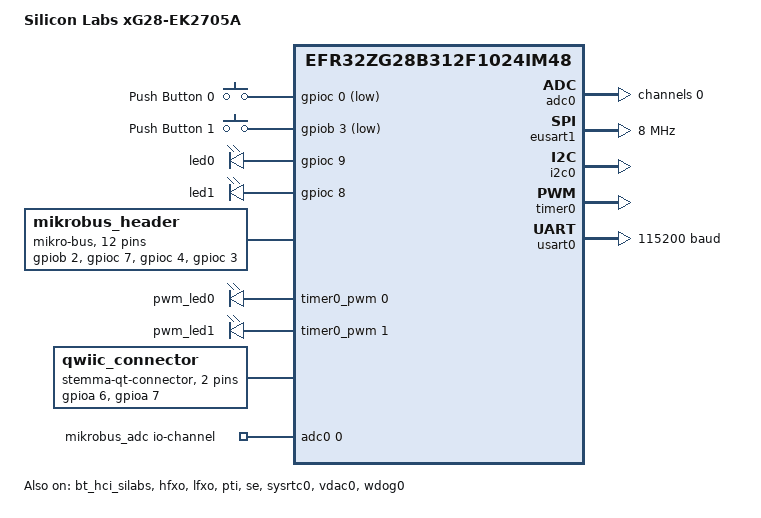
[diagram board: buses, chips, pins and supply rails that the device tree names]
/*
 * Copyright (c) 2026 Silicon Laboratories Inc.
 *
 * SPDX-License-Identifier: Apache-2.0
 */

/dts-v1/;
#include <silabs/xg28/efr32zg28b312f1024im48.dtsi>
#include <silabs/xg28/clock-hfrcodpll.dtsi>
#include <silabs/xg28/clock-lfxo.dtsi>
#include <zephyr/dt-bindings/adc/silabs-adc.h>
#include <zephyr/dt-bindings/dac/silabs-vdac.h>
#include <zephyr/dt-bindings/input/input-event-codes.h>
#include <zephyr/dt-bindings/pwm/pwm.h>
#include <zephyr/dt-bindings/regulator/silabs_dcdc.h>

#include "xg28_ek2705a-pinctrl.dtsi"

/ {
	compatible = "silabs,xg28_ek2705a";
	model = "Silicon Labs xG28-EK2705A";

	aliases {
		led0 = &led0;
		led1 = &led1;
		pwm-led0 = &pwm_led0;
		pwm-led1 = &pwm_led1;
		sw0 = &button0;
		sw1 = &button1;
		watchdog0 = &wdog0;
	};

	buttons {
		compatible = "gpio-keys";

		button0: button_0 {
			gpios = <&gpioc 0 GPIO_ACTIVE_LOW>;
			label = "Push Button 0";
			zephyr,code = <INPUT_BTN_0>;
		};

		button1: button_1 {
			gpios = <&gpiob 3 GPIO_ACTIVE_LOW>;
			label = "Push Button 1";
			zephyr,code = <INPUT_BTN_1>;
		};
	};

	chosen {
		zephyr,bt-hci = &bt_hci_silabs;
		zephyr,code-partition = &slot0_partition;
		zephyr,console = &usart0;
		zephyr,flash = &flash0;
		zephyr,shell-uart = &usart0;
		zephyr,sram = &sram0;
		zephyr,uart-pipe = &usart0;
	};

	leds {
		compatible = "gpio-leds";

		led0: led_0 {
			gpios = <&gpioc 9 GPIO_ACTIVE_HIGH>;
		};

		led1: led_1 {
			gpios = <&gpioc 8 GPIO_ACTIVE_HIGH>;
		};
	};

	mikrobus_header: mikrobus-connector {
		compatible = "mikro-bus";
		#gpio-cells = <2>;
		gpio-map-mask = <0xffffffff 0>;
		gpio-map-pass-thru = <0 GPIO_DT_FLAGS_MASK>;
		gpio-map = <0 0 &gpiob 2 0>,  /* AN   */
			   <1 0 &gpioc 7 0>,  /* RST  */
			   <2 0 &gpioc 4 0>,  /* CS   */
			   <3 0 &gpioc 3 0>,  /* SCK  */
			   <4 0 &gpioc 2 0>,  /* MISO */
			   <5 0 &gpioc 1 0>,  /* MOSI */
			   <6 0 &gpiod 2 0>,  /* PWM  */
			   <7 0 &gpiob 1 0>,  /* INT  */
			   <8 0 &gpioa 5 0>,  /* RX   */
			   <9 0 &gpioa 4 0>,  /* TX   */
			   <10 0 &gpioa 6 0>, /* SCL  */
			   <11 0 &gpioa 7 0>; /* SDA  */
	};

	pwmleds {
		compatible = "pwm-leds";

		pwm_led0: pwm_led_0 {
			pwms = <&timer0_pwm 0 PWM_MSEC(20) PWM_POLARITY_NORMAL>;
		};

		pwm_led1: pwm_led_1 {
			pwms = <&timer0_pwm 1 PWM_MSEC(20) PWM_POLARITY_NORMAL>;
		};
	};

	qwiic_connector: stemma-qt-connector {
		compatible = "stemma-qt-connector";
		#gpio-cells = <2>;
		gpio-map-mask = <0xffffffff 0>;
		gpio-map-pass-thru = <0 GPIO_DT_FLAGS_MASK>;
		gpio-map = <0 0 &gpioa 6 0>, /* SCL */
			   <1 0 &gpioa 7 0>; /* SDA */
	};

	mikrobus_adc: mikrobus_dac: zephyr,user {
		io-channels = <&adc0 0>;
		dac = <&vdac0>;
		dac-channel-id = <0>;
		dac-resolution = <12>;
	};
};

&adc0 {
	pinctrl-0 = <&iadc0_default>;
	pinctrl-names = "default";
	#address-cells = <1>;
	#size-cells = <0>;
	status = "okay";

	channel@0 {
		reg = <0>;
		zephyr,acquisition-time = <ADC_ACQ_TIME_DEFAULT>;
		zephyr,gain = "ADC_GAIN_1";
		zephyr,input-positive = <IADC_INPUT_PB2>;
		zephyr,reference = "ADC_REF_VDD_1";
		zephyr,resolution = <12>;
		zephyr,vref-mv = <3300>;
	};
};

&bt_hci_silabs {
	status = "okay";
};

&dcdc {
	regulator-boot-on;
	regulator-initial-mode = <SILABS_DCDC_MODE_BUCK>;
	silabs,pfmx-peak-current-milliamp = <100>;
	status = "okay";
};

&eusart1 {
	#address-cells = <1>;
	#size-cells = <0>;
	clock-frequency = <DT_FREQ_M(8)>;
	cs-gpios = <&gpioc 4 GPIO_ACTIVE_HIGH>;
	pinctrl-0 = <&eusart1_default>;
	pinctrl-names = "default";
	status = "okay";
};

mikrobus_spi: &eusart1 {};

zephyr_spi: &eusart1 {};

&flash0 {
	partitions {
		compatible = "fixed-partitions";
		#address-cells = <1>;
		#size-cells = <1>;

		boot_partition: partition@0 {
			reg = <0x00000000 DT_SIZE_K(48)>;
			label = "mcuboot";
		};

		slot0_partition: partition@c000 {
			reg = <0xc000 DT_SIZE_K(472)>;
			label = "image-0";
		};

		slot1_partition: partition@82000 {
			reg = <0x00082000 DT_SIZE_K(472)>;
			label = "image-1";
		};

		storage_partition: partition@f8000 {
			reg = <0x000f8000 DT_SIZE_K(32)>;
			label = "storage";
		};
	};
};

&gpioa {
	status = "okay";
};

&gpiob {
	status = "okay";
};

&gpioc {
	status = "okay";
};

&gpiod {
	status = "okay";
};

&hfxo {
	ctune = <100>;
	precision = <50>;
	status = "okay";
};

&i2c0 {
	pinctrl-0 = <&i2c0_default>;
	pinctrl-names = "default";
	status = "okay";
};

mikrobus_i2c: &i2c0 {};

zephyr_i2c: &i2c0 {};

&itm {
	pinctrl-0 = <&itm_default>;
	pinctrl-names = "default";
};

&lfxo {
	ctune = <35>;
	precision = <50>;
	status = "okay";
};

&pti {
	pinctrl-0 = <&pti_default>;
	pinctrl-names = "default";
	status = "okay";
};

&radio {
	pa-voltage-mv = <1800>;
	rf-path-switch-combine;
	rf-path-switch-control-gpios = <&gpiob 0 GPIO_ACTIVE_LOW>;
	rf-path-switch-radio-active-gpios = <&gpiod 3 GPIO_ACTIVE_HIGH>;
};

&se {
	status = "okay";
};

&sysrtc0 {
	status = "okay";
};

&timer0 {
	status = "okay";

	timer0_pwm: pwm {
		pinctrl-0 = <&timer0_default>;
		pinctrl-names = "default";
		status = "okay";
	};
};

&usart0 {
	current-speed = <115200>;
	pinctrl-0 = <&usart0_default>;
	pinctrl-names = "default";
	status = "okay";
};

&vdac0 {
	pinctrl-0 = <&vdac0_default>;
	pinctrl-names = "default";
	voltage-reference = "AVDD";
	status = "okay";

	channel@0 {
		reg = <0>;
		aux-output = <VDAC_OUTPUT_PB2>;
	};
};

&wdog0 {
	status = "okay";
};
